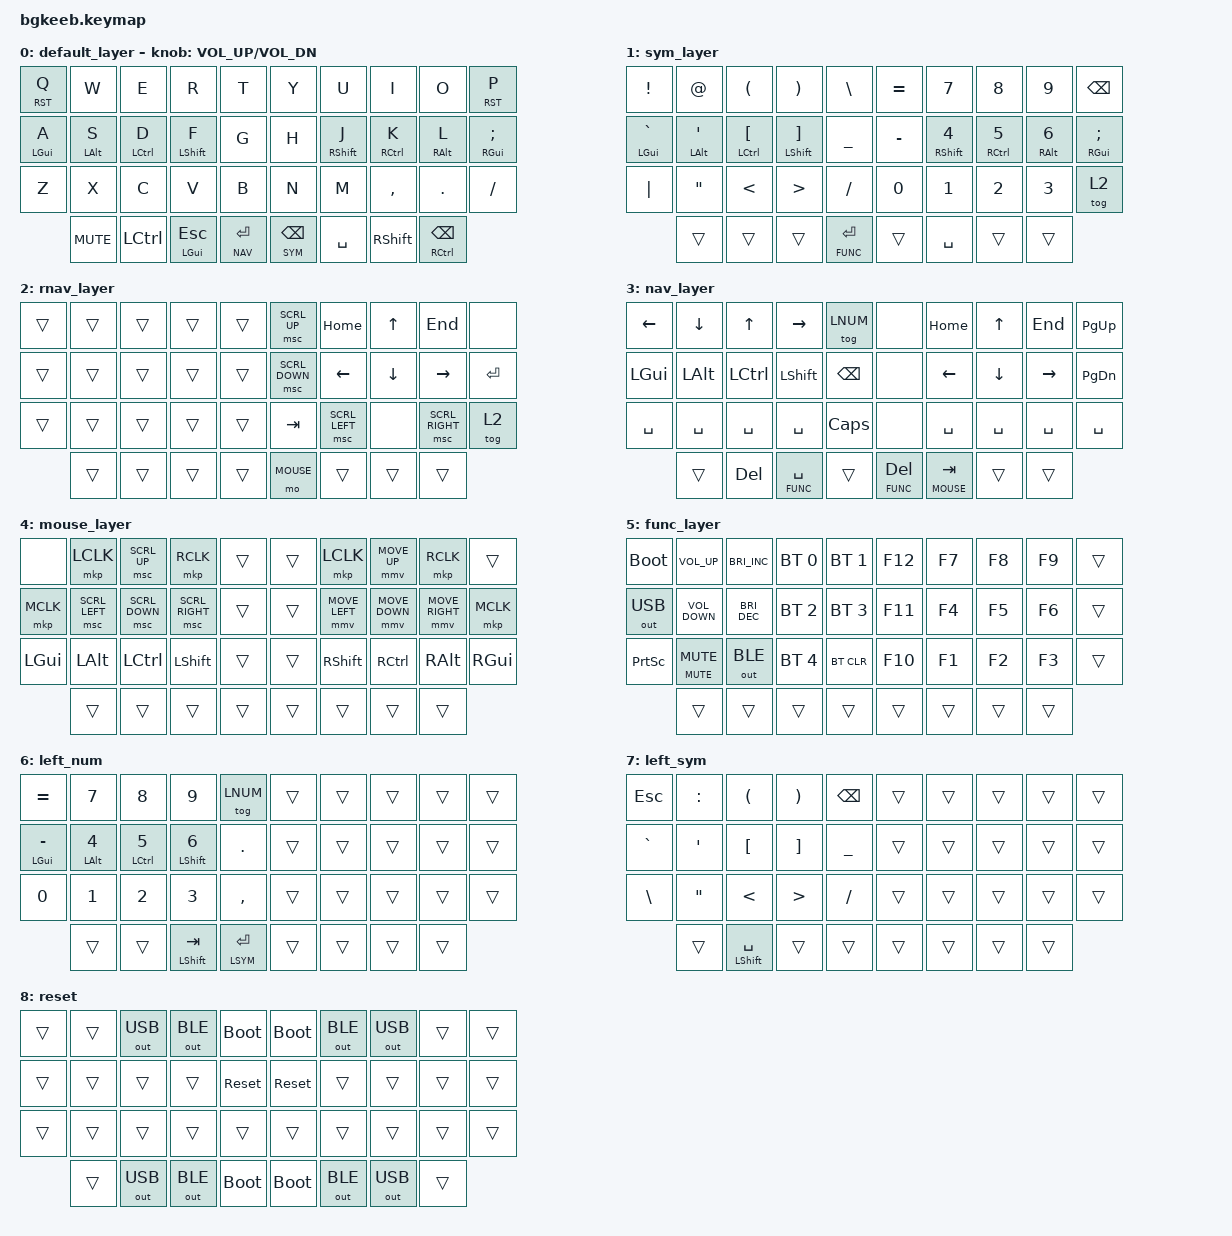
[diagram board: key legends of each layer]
#include <behaviors.dtsi>
#include <dt-bindings/zmk/mouse.h>
#include <dt-bindings/zmk/bt.h>
#include <dt-bindings/zmk/keys.h>
#include <dt-bindings/zmk/outputs.h>

#define DEFAULT 0
#define SYM     1
#define RNAV    2
#define NAV     3
#define MOUSE   4
#define FUNC    5
#define LNUM    6
#define LSYM    7
#define RST     8

&caps_word {
    continue-list = <UNDERSCORE MINUS>;
};

/ {
    combos {
        compatible = "zmk,combos";
    };
};

/ {
    behaviors {
        hm: homerow_mods {
            compatible = "zmk,behavior-hold-tap";
            label = "HOMEROW_MODS";
            #binding-cells = <2>;
            tapping-term-ms = <200>;
            flavor = "balanced";
            bindings = <&kp>, <&kp>;

            quick-tap-ms = <0>;
        };
        hs: homerow_shift {
            compatible = "zmk,behavior-hold-tap";
            label = "HOMEROW_SHIFT";
            #binding-cells = <2>;
            tapping-term-ms = <175>;
            flavor = "balanced";
            bindings = <&kp>, <&kp>;

            quick-tap-ms = <0>;
        };
        rst: reset_hold_tap {
            compatible = "zmk,behavior-hold-tap";
            label = "reset_hold_tap";
            bindings = <&mo>, <&kp>;

            #binding-cells = <2>;
            tapping-term-ms = <999>;
            flavor = "tap-preferred";
            quick-tap-ms = <200>;
        };
        bsp_l: bsp_l {
            compatible = "zmk,behavior-hold-tap";
            label = "BSP_L";
            bindings = <&mo>, <&kp>;

            #binding-cells = <2>;
            tapping-term-ms = <200>;
            quick-tap-ms = <100>;
        };
    };

    keymap {
        compatible = "zmk,keymap";

        default_layer {
            label="default_layer";
            bindings = <
&rst RST Q      &kp W         &kp E          &kp R           &kp T            &kp Y            &kp U         &kp I        &kp O       &rst RST P
&hm LGUI A      &hm LALT S    &hm LCTRL D    &hs LSHIFT F    &kp G            &kp H            &hs RSHIFT J  &hm RCTRL K  &hm RALT L  &hm RGUI SEMI
&kp Z           &kp X         &kp C          &kp V           &kp B            &kp N            &kp M         &kp COMMA    &kp DOT     &kp FSLH
                &kp K_MUTE    &kp LCTRL      &mt LGUI ESC    &lt NAV ENTER    &bsp_l SYM BSPC  &kp SPACE     &kp RSHIFT   &mt RCTRL BSPC
            >;

            sensor-bindings = <&inc_dec_kp C_VOL_UP C_VOL_DN>;
        };

        sym_layer {
            label="sym_layer";
            bindings = <
&kp EXCL          &kp AT               &kp LPAR          &kp RPAR           &kp BACKSLASH       &kp EQUAL  &kp N7        &kp N8        &kp N9       &kp BSPC
&hm LGUI GRAVE    &hm LALT APOS        &hm LCTRL LBKT    &hs LSHIFT RBKT    &kp UNDER           &kp MINUS  &hs RSHFT N4  &hm RCTRL N5  &hm RALT N6  &hm RGUI SEMI
&kp PIPE          &kp DOUBLE_QUOTES    &kp LT            &kp GT             &kp SLASH           &kp N0     &kp N1        &kp N2        &kp N3       &tog 2
                  &trans               &trans            &trans             &lt FUNC ENTER      &trans     &kp SPACE     &trans        &trans
            >;
        };

        rnav_layer {
            label="rnav_layer";
            bindings = <
&trans    &trans    &trans    &trans    &trans    &msc SCRL_UP      &kp HOME            &kp UP      &kp END              &none
&trans    &trans    &trans    &trans    &trans    &msc SCRL_DOWN    &kp LEFT            &kp DOWN    &kp RIGHT            &kp RET
&trans    &trans    &trans    &trans    &trans    &kp TAB             &msc SCRL_LEFT    &none       &msc SCRL_RIGHT    &tog 2
          &trans    &trans    &trans    &trans    &mo MOUSE           &trans              &trans      &trans
            >;
        };

        nav_layer {
            label="nav_layer";
            bindings = <
&kp LEFT     &kp DOWN     &kp UP       &kp RIGHT         &tog LNUM      &none           &kp HOME        &kp UP       &kp END      &kp PG_UP
&kp LGUI     &kp LALT     &kp LCTRL    &kp LSHFT         &kp BSPC       &none           &kp LEFT         &kp DOWN     &kp RIGHT    &kp PG_DN
&kp SPACE    &kp SPACE    &kp SPACE    &kp SPACE         &kp CAPS       &none           &kp SPACE        &kp SPACE    &kp SPACE    &kp SPACE
             &trans       &kp DEL      &lt FUNC SPACE    &trans         &lt FUNC DEL    &lt MOUSE TAB    &trans       &trans
            >;
        };

        mouse_layer {
            label="mouse_layer";
            bindings = <
&none        &mkp LCLK           &msc SCRL_UP      &mkp RCLK            &trans    &trans    &mkp LCLK         &mmv MOVE_UP      &mkp RCLK          &trans
&mkp MCLK    &msc SCRL_LEFT    &msc SCRL_DOWN    &msc SCRL_RIGHT    &trans    &trans    &mmv MOVE_LEFT    &mmv MOVE_DOWN    &mmv MOVE_RIGHT    &mkp MCLK
&kp LGUI     &kp LALT            &kp LCTRL           &kp LSHFT            &trans    &trans    &kp RSHFT         &kp RCTRL         &kp RALT           &kp RGUI
             &trans              &trans              &trans               &trans    &trans    &trans            &trans            &trans
            >;
        };

        func_layer {
            label="func_layer";
            bindings = <
&bootloader        &kp C_VOLUME_UP      &kp C_BRIGHTNESS_INC    &bt BT_SEL 0    &bt BT_SEL 1    &kp F12    &kp F7    &kp F8    &kp F9    &trans
&out OUT_USB       &kp C_VOLUME_DOWN    &kp C_BRIGHTNESS_DEC    &bt BT_SEL 2    &bt BT_SEL 3    &kp F11    &kp F4    &kp F5    &kp F6    &trans
&kp PRINTSCREEN    &mt C_MUTE K_MUTE    &out OUT_BLE            &bt BT_SEL 4    &bt BT_CLR      &kp F10    &kp F1    &kp F2    &kp F3    &trans
                   &trans               &trans                  &trans          &trans          &trans     &trans    &trans    &trans
            >;
        };

        left_num {
            label="left_num";
            bindings = <
&kp EQUAL         &kp N7         &kp N8          &kp N9           &tog LNUM          &trans  &trans  &trans  &trans  &trans
&hm LGUI MINUS    &hm LALT N4    &hm LCTRL N5    &hs LSHFT N6     &kp DOT            &trans  &trans  &trans  &trans  &trans
&kp N0            &kp N1         &kp N2          &kp N3           &kp COMMA          &trans  &trans  &trans  &trans  &trans
                  &trans         &trans          &mt LSHFT TAB    &lt LSYM ENTER     &trans  &trans  &trans    &trans
            >;
        };

        left_sym {
            label="left_sym";
            bindings = <
&kp ESC      &kp COLON            &kp LPAR           &kp RPAR    &kp BSPC     &trans    &trans    &trans    &trans    &trans
&kp GRAVE    &kp SQT              &kp LBKT           &kp RBKT    &kp UNDER    &trans    &trans    &trans    &trans    &trans
&kp BSLH     &kp DOUBLE_QUOTES    &kp LT             &kp GT      &kp FSLH     &trans    &trans    &trans    &trans    &trans
             &trans               &mt LSHFT SPACE    &trans      &trans       &trans    &trans    &trans    &trans
            >;
        };

        reset {
            label="reset";
            bindings = <
&trans    &trans    &out OUT_USB    &out OUT_BLE    &bootloader    &bootloader    &out OUT_BLE    &out OUT_USB    &trans    &trans
&trans    &trans    &trans          &trans          &sys_reset     &sys_reset     &trans          &trans          &trans    &trans
&trans    &trans    &trans          &trans          &trans         &trans         &trans          &trans          &trans    &trans
          &trans    &out OUT_USB    &out OUT_BLE    &bootloader    &bootloader    &out OUT_BLE    &out OUT_USB    &trans
            >;
        };
    };
};
